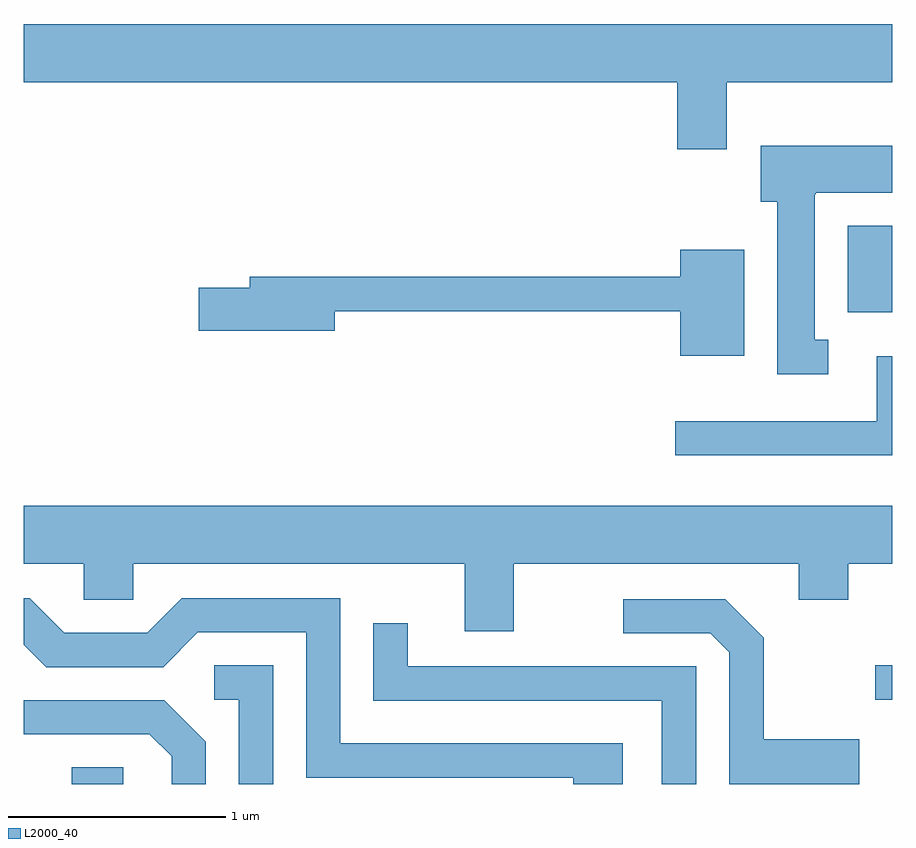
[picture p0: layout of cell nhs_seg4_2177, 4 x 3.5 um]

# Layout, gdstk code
import gdstk
lib = gdstk.Library(unit=1e-6, precision=1e-09)
def R(c, l, rs):  # rectangles x0, y0, x1, y1
    for r in rs: c.add(gdstk.rectangle(r[:2], r[2:], *l))
def P(c, l, *ps):  # polygons
    for p in ps: c.add(gdstk.Polygon(p, *l))
L2000_40 = (2000, 40)

nhs_seg4_2177 = lib.new_cell('nhs_seg4_2177')
R(nhs_seg4_2177, L2000_40, [(249.831,1255.982,250.069,1256.059), (253.533,1256.371,253.611,1256.529), (253.406,1258.156,253.611,1258.554)])
P(nhs_seg4_2177, L2000_40, [(252.849,1259.216),(253.611,1259.216),(253.611,1259.484),(249.611,1259.484),(249.611,1259.216),(252.621,1259.216),(252.621,1258.906),(252.849,1258.906)],
  [(253.318,1258.029),(253.254,1258.029),(253.254,1258.7),(253.26,1258.7),(253.26,1258.706),(253.611,1258.706),(253.611,1258.924),(253.006,1258.924),(253.006,1258.666),(253.081,1258.666),(253.081,1257.871),(253.318,1257.871)],
  [(252.929,1258.444),(252.636,1258.444),(252.636,1258.319),(250.651,1258.319),(250.651,1258.269),(250.416,1258.269),(250.416,1258.071),(251.044,1258.071),(251.044,1258.161),(252.636,1258.161),(252.636,1257.956),(252.929,1257.956)],
  [(253.611,1257.954),(253.541,1257.954),(253.541,1257.654),(252.613,1257.654),(252.613,1257.496),(253.611,1257.496)],
  [(251.869,1256.996),(253.181,1256.996),(253.181,1256.831),(253.409,1256.831),(253.409,1256.996),(253.611,1256.996),(253.611,1257.264),(249.611,1257.264),(249.611,1256.996),(249.886,1256.996),(249.886,1256.831),(250.114,1256.831),(250.114,1256.996),(251.641,1256.996),(251.641,1256.686),(251.869,1256.686)],
  [(252.369,1256.169),(251.069,1256.169),(251.069,1256.839),(250.339,1256.839),(250.179,1256.679),(249.797,1256.679),(249.637,1256.839),(249.611,1256.839),(249.611,1256.624),(249.714,1256.521),(250.252,1256.521),(250.412,1256.681),(250.911,1256.681),(250.911,1256.011),(252.141,1256.011),(252.141,1255.982),(252.369,1255.982)],
  [(253.459,1256.189),(253.019,1256.189),(253.019,1256.657),(252.842,1256.834),(252.373,1256.834),(252.373,1256.676),(252.774,1256.676),(252.861,1256.589),(252.861,1255.982),(253.459,1255.982)],
  [(252.709,1256.524),(251.379,1256.524),(251.379,1256.723),(251.221,1256.723),(251.221,1256.366),(252.551,1256.366),(252.551,1255.982),(252.709,1255.982)],
  [(250.759,1256.529),(250.488,1256.529),(250.488,1256.371),(250.601,1256.371),(250.601,1255.982),(250.759,1255.982)],
  [(250.449,1256.177),(250.257,1256.369),(249.611,1256.369),(249.611,1256.211),(250.189,1256.211),(250.291,1256.109),(250.291,1255.982),(250.449,1255.982)])

lib.write_gds('nhs_seg4_2177.gds')
